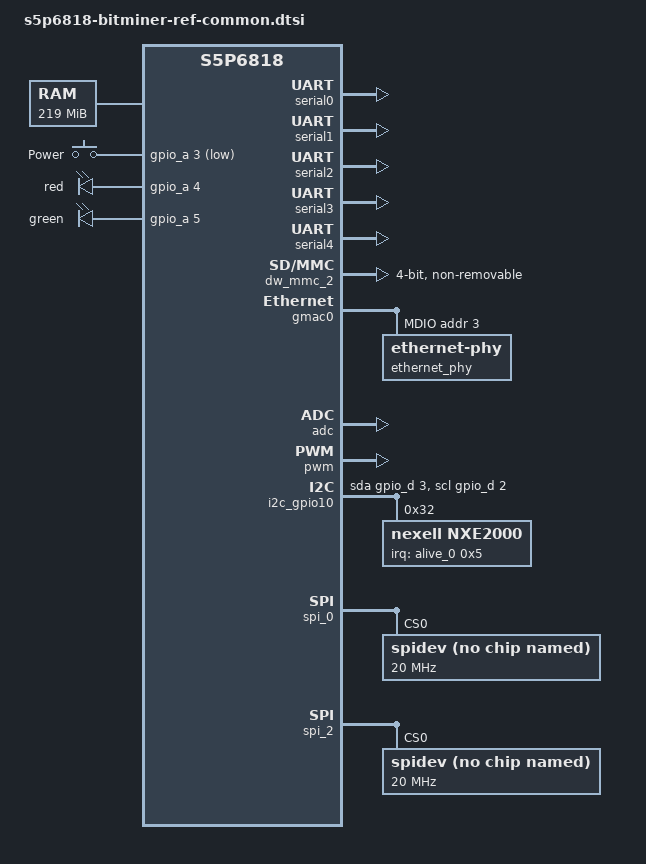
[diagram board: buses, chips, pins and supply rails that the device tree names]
/*
 * Copyright (C) 2018  Nexell Co., Ltd.
 * Author: Jinyong Lee <justin@nexell.co.kr>
 *
 * This program is free software; you can redistribute it and/or
 * modify it under the terms of the GNU General Public License
 * as published by the Free Software Foundation; either version 2
 * of the License, or (at your option) any later version.
 *
 * This program is distributed in the hope that it will be useful,
 * but WITHOUT ANY WARRANTY; without even the implied warranty of
 * MERCHANTABILITY or FITNESS FOR A PARTICULAR PURPOSE.  See the
 * GNU General Public License for more details.
 *
 * You should have received a copy of the GNU General Public License
 * along with this program.  If not, see <http://www.gnu.org/licenses/>.
 */

#include <dt-bindings/interrupt-controller/irq.h>
#include <dt-bindings/gpio/gpio.h>
#include <dt-bindings/input/input.h>
#include "s5p6818.dtsi"

#define PMIC_PDATA_INIT(_id, _rname, _minuv,    \
                        _maxuv, _init_uv, _init_enable,         \
                        _set_init_uV, _slp_slots)       \
                regulator-name = _rname;                \
                regulator-min-microvolt = <_minuv>;     \
                regulator-max-microvolt = <_maxuv>;     \
                nx,id = <_id>;                          \
                nx,init_enable = <_init_enable>;        \
                nx,init_uV = <_init_uv>;                \
                nx,set_init_uV = <_set_init_uV>;        \
                nx,sleep_slots = <_slp_slots>;

/ {
	memory {
		device_type = "memory";
		reg = <0x40000000 0x0db00000>;
	};

	aliases {
	};

	soc {
		#include "s5p6818-pinctrl.dtsi"
		clocks {
			uart3:uart@c00ab000 { clock-frequency = <147500000>; };
			vip0:vip@c00c1000 { src-force = <4>; };
			i2c2:i2c@c00b0000  { clock-frequency = <200000000>; };
			pwm0:pwm0@c00ba000 {
				clk-input = <I_PLL2>;
				clock-frequency = <10000000>;
			};
			pwm1:pwm1@c00ba000 {
				clk-input = <I_PLL2>;
				clock-frequency = <10000000>;
			};
			pwm2:pwm2@c00be000 {
				clk-input = <I_PLL2>;
				clock-frequency = <10000000>;
			};
			pwm3:pwm3@c00be000 {
				clk-input = <I_PLL2>;
				clock-frequency = <10000000>;
			};

		};

		serial0:serial@c00a1000 {
			dmas = <&pl08xdma0 2>, <&pl08xdma0 3>;
			dma-names = "tx", "rx";
			status ="okay";
		};

		serial1:serial@c00a0000 {
			dmas = <&pl08xdma0 0>, <&pl08xdma0 1>;
			dma-names = "tx", "rx";
			status ="okay";
		};

		serial2:serial@c00a2000 {
			dmas = <&pl08xdma0 4>, <&pl08xdma0 5>;
			dma-names = "tx", "rx";
			status ="okay";
		};

		serial3:serial@c00a3000 {
			status ="okay";
		};

		serial4:serial@c006d000 {
			status ="okay";
		};

		amba {
			pl08xdma0:pl08xdma@c0000000 {
				use_isr;

				ch12 {
					slave_wait_flush_dma;
				};

				ch13 {
					slave_wait_flush_dma;
				};

				ch14 {
					slave_wait_flush_dma;
				};

				ch15 {
					slave_wait_flush_dma;
				};
			};

			pl08xdma1:pl08xdma@c0001000 {
				use_isr;

				ch0 {
					slave_wait_flush_dma;
				};

				ch1 {
					slave_wait_flush_dma;
				};
			};
		};

		tmuctrl_0: tmuctrl@c0096000 {
			status = "okay";
		};

		thermal-zones {
			cpu0_thermal: cpu0-thermal {
				thermal-sensors = <&tmuctrl_0>;
				polling-delay-passive = <1000>;
				polling-delay = <1000>;
				trips {
					cpu_alert0: cpu-alert-0 {
						temperature = <80000>;
						hysteresis = <100000>;
						type = "active";
					};
					cpu_alert1: cpu-alert-1 {
						temperature = <85000>;
						hysteresis = <100000>;
						type = "passive";
					};
					cpu_alert2: cpu-alert-2 {
						temperature = <100000>;
						hysteresis = <100000>;
						type = "passive";
					};
					cpu-crit-0 {
						temperature = <115000>;
						hysteresis = <100000>;
						type = "critical";
					};
				};
			};
		};

		dw_mmc_2:dw_mmc@c0069000 {
			num-slots = <1>;
			bus-width = <4>;
			pinctrl-0 = <&sdmmc2_cclk &sdmmc2_cmd
						&sdmmc2_bus4>;
			cap-mmc-highspeed;
			broken-cd;
			non-removable;
			clock-frequency = <50000000>;
			card-detect-delay = <200>;
			disable-wp;
			status = "okay";
			nexell,drive_dly = <0x0>;
			nexell,drive_shift = <0x01>;
			nexell,sample_dly = <0x00>;
			nexell,sample_shift = <0x02>;
		};

		watchdog@c0019000 {
			status = "okay";
		};

		rtc@c0010c00 {
			status = "okay";
		};

		gmac0:ethernet@c0060000 {
			pinctrl-names = "default";
			pinctrl-0 = <&gmac_pins>;

			status = "okay";
			#address-cells = <0x1>;
			#size-cells = <0x0>;

			snps,phy-addr = <3>;

			boost-busfreq;
			boost-busfreq-timeout = <100000>;

			mdio {
				#address-cells = <1>;
				#size-cells = <0>;

				ethernet_phy: ethernet-phy@3 {
					reg = <3>;
					fixed-link {
						speed = <1000>;
						full-duplex;
					};
				};
			};
		};

		adc:adc@c0053000 {
			status = "okay";
		};

		pwm:pwm@c0018000 {
			clock-names = "timers", "pwm-tclk0", "pwm-tclk1";
			clocks = <&pclk>, <&pwm0>, <&pwm1>;
			pinctrl-names = "default";
			pinctrl-0 = <&pwm0_pin &pwm1_pin>;
			samsung,pwm-outputs = <0>, <1>;
			status = "okay";
		};

		pinctrl@C0010000 {
			key_power:key_power {
				nexell,pins = "gpioa-3";
				nexell,pin-function = <0>;
				nexell,pin-pull = <1>;
				nexell,pin-strength = <0>;
			};
			pmic_irq:pmic_irq{
				nexell,pins = "alive-4";
				nexell,pin-function = <NX_PIN_FUNC0>;
				nexell,pin-pull = <NX_PIN_PULL_UP>;
				nexell,pin-strength = <NX_PIN_STR0>;
			};

		};

	};	/*** soc ***/

	i2c_gpio10: i2c@10 {
		compatible = "i2c-gpio";
		gpios = <&gpio_d 3 0	/* sda */
			&gpio_d 2 0	/* scl */
			>;

		i2c-gpio,delay-us = <1>;	/* ~100kHz */
		#address-cells = <1>;
		#size-cells = <0>;
		status = "okay";

	};

	gpio_key: gpio_keys {
		compatible = "gpio-keys";
		#address-cells = <1>;
		#size-cells = <0>;
		pinctrl-names = "default";
		pinctrl-0 = <&key_power>;

		power {
			label = "Power";
			gpios = <&gpio_a 3 GPIO_ACTIVE_LOW>;
			linux,code = <KEY_F24>;
		};
	};

	nexell-ion@0 {
		compatible = "nexell,ion";

		heap_sys_user@0 {
			heap-type = "ion_system";
		};

		heap_sys_contig@0 {
			heap-type = "ion_system_contig";
		};

		heap_dma@0 {
			heap-type = "ion_dma";
		};
	};

	leds {
		compatible = "gpio-leds";

		led_err {
			label ="red";
			gpios = <&gpio_a 4 GPIO_ACTIVE_HIGH>;
			linux,default-trigger = "timer";
			default-state = "off";
		};

		led_ok {
			label ="green";
			gpios = <&gpio_a 5 GPIO_ACTIVE_HIGH>;
			linux,default-trigger = "timer";
			default-state = "off";
		};
	};

};

&i2c_gpio10 {
	nxe2000@32 {
		compatible = "nexell,nxe2000";
		reg = <0x32>;
		interrupt-parent = <&alive_0>;
		interrupts = <0x5 IRQ_TYPE_EDGE_FALLING>;
		pinctrl-names = "default";
		pinctrl-0 = <&pmic_irq>;

		regulators {
			VCC_DCDC1:
				dcdc2	{ PMIC_PDATA_INIT( 1,
					"nxe2000_dcdc2",
					1000000, 1500000,
					1200000, 1, 0, 0x4)
					regulator-always-on;
					regulator-boot-on;};
			VCC_LDO0:
				ldo1	{ PMIC_PDATA_INIT( 5,
					"nxe2000_ldo1",
					1000000, 3500000,
					1800000, 1, 1, 0x0) /* ASIC */
/*					3300000, 1, 1, 0x0) /* FPGA */
					regulator-always-on;
					regulator-boot-on;};
			VCC_LDO3:
				ldo4	{ PMIC_PDATA_INIT( 8,
					"nxe2000_ldo4",
					1000000, 3500000,
					1800000, 1, 1, 0x2)
					regulator-always-on;
					regulator-boot-on;};
			VCC_LDO9:
				ldo10	{ PMIC_PDATA_INIT(14,
					"nxe2000_ldo10",
					1000000, 3500000,
					1000000, 1, 1, 0x4)
					regulator-always-on;
					regulator-boot-on;};
		}; /* regulators */
	};
};

&spi_0 {
	status = "okay";
/*	cs-gpios = <&gpio_c 30 0>; */
	not-queued-transfer = <1>;
	spidev@0 {
		compatible = "linux,spidev";
		reg = <0>;
		spi-max-frequency = <20000000>;
		controller-data {
			cs-per-message = <1>;
			samsung,spi-feedback-delay = <0>;
		};
	};
};

&spi_2 {
	status = "okay";
/*	cs-gpios = <&gpio_c 10 0>; */
	not-queued-transfer = <1>;
	spidev@0 {
		compatible = "linux,spidev";
		reg = <0>;
		spi-max-frequency = <20000000>;
		controller-data {
			cs-per-message = <1>;
			samsung,spi-feedback-delay = <0>;
		};
	};
};

&spi0_bus {
	nexell,pin-strength = <NX_PIN_STR3>;
};

&spi2_bus {
	nexell,pin-strength = <NX_PIN_STR3>;
};
